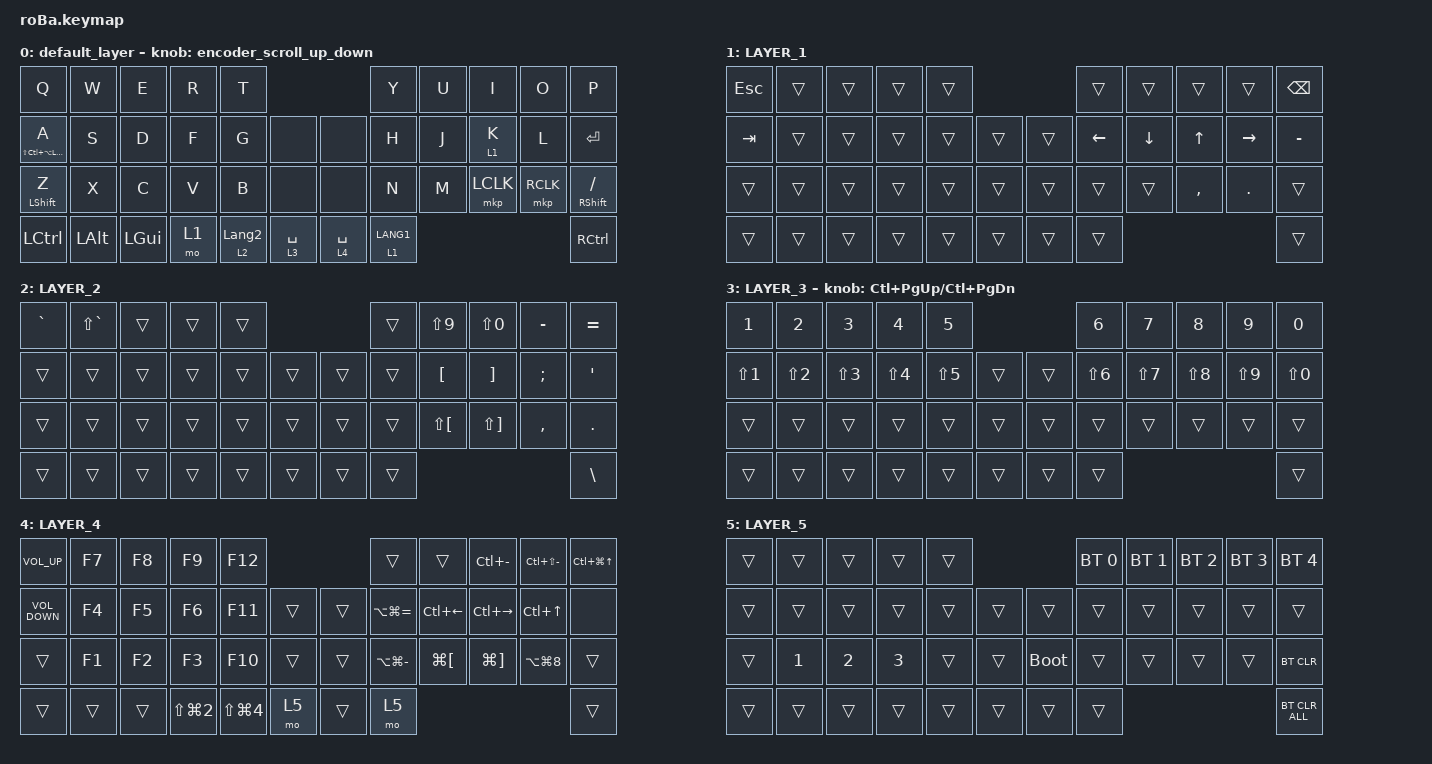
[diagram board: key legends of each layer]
#include <behaviors.dtsi>
#include <dt-bindings/zmk/bt.h>
#include <dt-bindings/zmk/keys.h>
#include <dt-bindings/zmk/pointing.h>

#define ZMK_POINTING_DEFAULT_SCRL_VAL 100

&mt {
    flavor = "balanced";
    quick-tap-ms = <150>;
};

&trackball {
    scroll-layers = <1>;

    // Example: use trackball as arrow keys on layer 3
    // arrows {
    //     layers = <3>;
    //     bindings =
    //         <&kp RIGHT_ARROW>,
    //         <&kp LEFT_ARROW>,
    //         <&kp UP_ARROW>,
    //         <&kp DOWN_ARROW>;
    //     tick = <10>;    // send a key every N pixels of movement
    //     wait-ms = <5>;  // delay between keys
    //     tap-ms = <5>;   // key press duration
    // };
};

/ {
    combos { compatible = "zmk,combos"; };

    macros {
        to_layer_0: to_layer_0 {
            compatible = "zmk,behavior-macro-one-param";
            #binding-cells = <1>;
            bindings = <&to 0 &macro_param_1to1 &kp MACRO_PLACEHOLDER>;
            label = "TO_LAYER_0";
        };
    };

    behaviors {
        encoder_scroll_up_down: encoder_scroll_up_down {
            compatible = "zmk,behavior-sensor-rotate";
            label = "ENCODER_SCROLL_UP_DOWN";
            #sensor-binding-cells = <0>;
            bindings = <&msc SCRL_DOWN>, <&msc SCRL_UP>;

            tap-ms = <20>;
        };

        hml: hml {
            compatible = "zmk,behavior-hold-tap";
            label = "HML";
            bindings = <&kp>, <&kp>;

            #binding-cells = <2>;
            tapping-term-ms = <200>;
            quick-tap-ms = <150>;
            require-prior-idle-ms = <200>;
            flavor = "balanced";
            hold-trigger-on-release;
            hold-trigger-key-positions = <42 5 6 7 8 9 16 17 18 19 20 21 28 29 30 31 32 33 41 40>;
        };

        hmr: hmr {
            compatible = "zmk,behavior-hold-tap";
            label = "HMR";
            bindings = <&kp>, <&kp>;

            #binding-cells = <2>;
            tapping-term-ms = <200>;
            quick-tap-ms = <150>;
            require-prior-idle-ms = <200>;
            flavor = "balanced";
            hold-trigger-on-release;
            hold-trigger-key-positions = <0 1 2 3 4 10 11 12 13 14 15 22 23 24 25 26 27 34 35 36 37 38 39>;
        };
    };

    keymap {
        compatible = "zmk,keymap";

        default_layer {
            bindings = <
&kp Q                        &kp W         &kp E         &kp R  &kp T                                           &kp Y        &kp U  &kp I      &kp O      &kp P
&hml LS(LC(LA(LEFT_GUI))) A  &kp S         &kp D         &kp F  &kp G             &none            &none        &kp H        &kp J  &lt 1 K    &kp L      &kp ENTER
&mt LEFT_SHIFT Z             &kp X         &kp C         &kp V  &kp B             &none            &none        &kp N        &kp M  &mkp LCLK  &mkp RCLK  &mt RIGHT_SHIFT SLASH
&kp LCTRL                    &kp LEFT_ALT  &kp LEFT_GUI  &mo 1  &lt 2 LANGUAGE_2  &lt 3 SPACE      &lt 4 SPACE  &lt 1 LANG1                               &kp RIGHT_CONTROL
            >;

            sensor-bindings = <&encoder_scroll_up_down>;
        };

        LAYER_1 {
            bindings = <
&kp ESC  &trans  &trans  &trans  &trans                      &trans    &trans    &trans     &trans      &kp BACKSPACE
&kp TAB  &trans  &trans  &trans  &trans  &trans      &trans  &kp LEFT  &kp DOWN  &kp UP     &kp RIGHT   &kp MINUS
&trans   &trans  &trans  &trans  &trans  &trans      &trans  &trans    &trans    &kp COMMA  &kp PERIOD  &trans
&trans   &trans  &trans  &trans  &trans  &trans      &trans  &trans                                     &trans
            >;
        };

        LAYER_2 {
            bindings = <
&kp GRAVE  &kp LS(GRAVE)  &trans  &trans  &trans                      &trans  &kp LS(N9)    &kp LS(N0)    &kp MINUS  &kp EQUAL
&trans     &trans         &trans  &trans  &trans  &trans      &trans  &trans  &kp LBKT      &kp RBKT      &kp SEMI   &kp APOS
&trans     &trans         &trans  &trans  &trans  &trans      &trans  &trans  &kp LS(LBKT)  &kp LS(RBKT)  &kp COMMA  &kp DOT
&trans     &trans         &trans  &trans  &trans  &trans      &trans  &trans                                         &kp BSLH
            >;
        };

        LAYER_3 {
            bindings = <
&kp N1      &kp N2      &kp N3      &kp N4      &kp N5                          &kp N6      &kp N7      &kp N8      &kp N9      &kp N0
&kp LS(N1)  &kp LS(N2)  &kp LS(N3)  &kp LS(N4)  &kp LS(N5)  &trans      &trans  &kp LS(N6)  &kp LS(N7)  &kp LS(N8)  &kp LS(N9)  &kp LS(N0)
&trans      &trans      &trans      &trans      &trans      &trans      &trans  &trans      &trans      &trans      &trans      &trans
&trans      &trans      &trans      &trans      &trans      &trans      &trans  &trans                                          &trans
            >;

            sensor-bindings = <&inc_dec_kp LC(PAGE_UP) LC(PAGE_DOWN)>;
        };

        LAYER_4 {
            bindings = <
&kp C_VOLUME_UP    &kp F7  &kp F8  &kp F9                &kp F12                                   &trans             &trans                &kp LC(MINUS)          &kp LC(LS(MINUS))  &kp LC(LG(UP))
&kp C_VOLUME_DOWN  &kp F4  &kp F5  &kp F6                &kp F11               &trans      &trans  &kp LA(LG(EQUAL))  &kp LC(LEFT)          &kp LC(RIGHT)          &kp LC(UP)         &none
&trans             &kp F1  &kp F2  &kp F3                &kp F10               &trans      &trans  &kp LA(LG(MINUS))  &kp LG(LEFT_BRACKET)  &kp LG(RIGHT_BRACKET)  &kp LA(LG(N8))     &trans
&trans             &trans  &trans  &kp LS(LG(NUMBER_2))  &kp LS(LG(NUMBER_4))  &mo 5       &trans  &mo 5                                                                              &trans
            >;
        };

        LAYER_5 {
            bindings = <
&trans  &trans        &trans        &trans        &trans                           &bt BT_SEL 0  &bt BT_SEL 1  &bt BT_SEL 2  &bt BT_SEL 3  &bt BT_SEL 4
&trans  &trans        &trans        &trans        &trans  &trans      &trans       &trans        &trans        &trans        &trans        &trans
&trans  &kp NUMBER_1  &kp NUMBER_2  &kp NUMBER_3  &trans  &trans      &bootloader  &trans        &trans        &trans        &trans        &bt BT_CLR
&trans  &trans        &trans        &trans        &trans  &trans      &trans       &trans                                                  &bt BT_CLR_ALL
            >;
        };
    };
};
